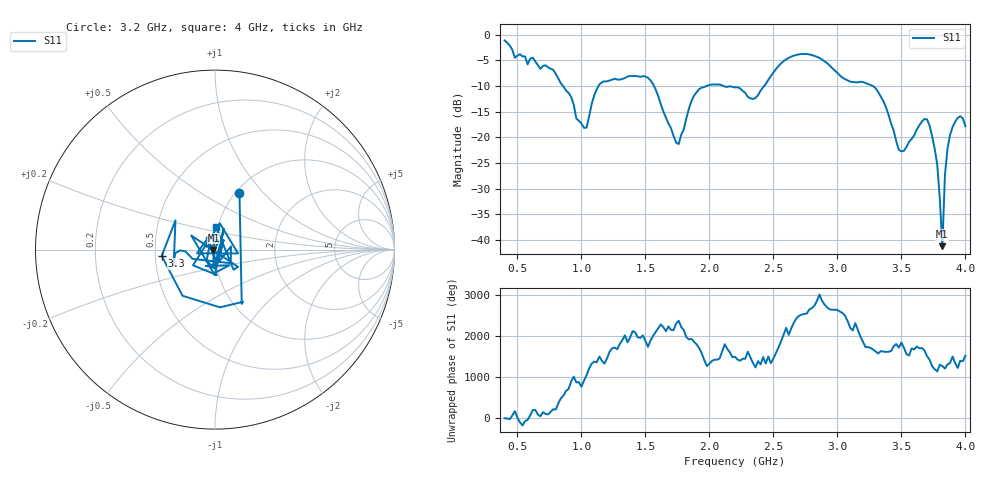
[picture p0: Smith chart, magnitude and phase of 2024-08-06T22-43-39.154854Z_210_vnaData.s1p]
!Created with skrf (http://scikit-rf.org).
# Hz S RI R 50.0
!freq ReS11 ImS11
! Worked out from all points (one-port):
!   181 points, 400 MHz to 4 GHz, reference 50 ohm
!   lowest |S11| = -41.2 dB at 3.82 GHz (marker M1), VSWR 1.02, Z = 49.2 - j0.225 ohm
!   |S11| at or under -10 dB: 1.567 GHz to 1.978 GHz (411.6 MHz wide, 23.2 % of centre); 2.109 GHz to 2.429 GHz (319.6 MHz wide, 14.1 % of centre); 3.276 GHz to end of sweep (the widest 3 of 4)
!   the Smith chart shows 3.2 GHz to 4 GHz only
!   S11 on the Smith chart (normalised r, x): 3.2 GHz: 1.04, +0.75; 3.3 GHz: 0.54, -0.04; 4 GHz: 0.98, +0.25
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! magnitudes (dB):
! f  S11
! 400 MHz  -1.1
! 480 MHz  -4.5
! 620 MHz  -4.5
! 860 MHz  -10.1
! 960 MHz  -16.3
! 1.04 GHz  -18.1
! 1.14 GHz  -9.7
! 1.3 GHz  -8.8
! 1.54 GHz  -8.9
! 1.76 GHz  -21.3
! 1.92 GHz  -10.6
! 2.2 GHz  -10.3
! 2.36 GHz  -12.3
! 2.66 GHz  -4.1
! 2.86 GHz  -4.6
! 3.1 GHz  -9.2
! 3.2 GHz  -9.3
! 3.3 GHz  -10.5
! 3.48 GHz  -22.5
! 3.56 GHz  -20.9
! 3.68 GHz  -16.4
! 3.72 GHz  -17.7
! 3.78 GHz  -25.3
! 3.82 GHz  -41.2
! 3.84 GHz  -27.5
! 3.88 GHz  -19.6
! 3.96 GHz  -15.9
! 4 GHz  -17.9
